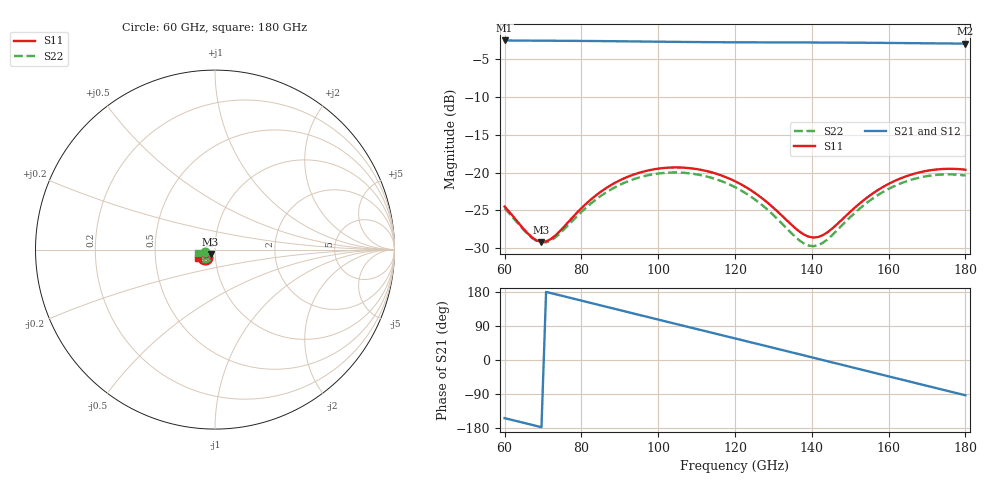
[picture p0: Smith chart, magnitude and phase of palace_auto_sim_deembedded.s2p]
! Created with skrf 1.11.0 (http://scikit-rf.org).
# GHz S DB R 50.0
!freq dBS11 angS11 dBS21 angS21 dBS12 angS12 dBS22 angS22
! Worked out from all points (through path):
!   101 points, 60 GHz to 180 GHz, reference 50 ohm
!   highest |S21| = -2.51 dB at 60 GHz (marker M1); lowest = -2.9 dB at 180 GHz (marker M2)
!   group delay of S21, straight-line fit = 6.94 ps
!   lowest |S11| = -29.2 dB at 69.6 GHz (marker M3), VSWR 1.07, Z = 47.5 - j2.3 ohm
!   |S11| at or under -10 dB: start of sweep to end of sweep
!   |S22| runs from -29.7 to -20.0 dB; largest |S21 - S12| = 8.3e-14
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60  -24.49 -163.4  -2.51 -153.5  -2.51 -153.5  -24.71 -166.5
66  -28.03 -153.3  -2.54 -168.3  -2.54 -168.3  -28.12 -157.7
69.6  -29.16 -135.9  -2.55 -177.3  -2.55 -177.3  -29.25 -142.0
73.2  -28.33 -118.0  -2.56 173.7  -2.56 173.7  -28.58 -125.3
80.4  -24.51 -106.1  -2.58 155.7  -2.58 155.7  -25.01 -113.8
85.2  -22.47 -109.2  -2.60 143.7  -2.60 143.7  -23.03 -117.0
91.2  -20.74 -117.5  -2.63 128.7  -2.63 128.7  -21.34 -125.7
100.8  -19.42 -134.5  -2.68 104.7  -2.68 104.7  -20.07 -143.4
105.6  -19.32 -143.3  -2.71 92.7  -2.71 92.7  -19.99 -152.8
110.4  -19.56 -152.0  -2.73 80.8  -2.73 80.8  -20.26 -161.9
120  -21.14 -167.2  -2.76 57.0  -2.76 57.0  -21.92 -178.1
126  -22.99 -173.3  -2.77 42.0  -2.77 42.0  -23.86 175.1
130.8  -25.02 -173.8  -2.77 30.1  -2.77 30.1  -26.01 174.4
136.8  -27.80 -162.3  -2.78 15.1  -2.78 15.1  -28.97 -173.4
140.4  -28.59 -147.0  -2.78 6.0  -2.78 6.0  -29.73 -156.9
144  -27.92 -131.4  -2.79 -3.0  -2.79 -3.0  -28.86 -140.9
150  -25.19 -118.9  -2.81 -18.1  -2.81 -18.1  -25.90 -129.6
154.8  -23.14 -118.7  -2.82 -30.1  -2.82 -30.1  -23.81 -130.5
160.8  -21.28 -124.2  -2.85 -45.2  -2.85 -45.2  -21.95 -137.1
170.4  -19.72 -138.2  -2.89 -69.2  -2.89 -69.2  -20.43 -152.6
175.2  -19.50 -146.0  -2.91 -81.1  -2.91 -81.1  -20.23 -161.2
180  -19.61 -153.8  -2.93 -93.1  -2.93 -93.1  -20.39 -169.7
